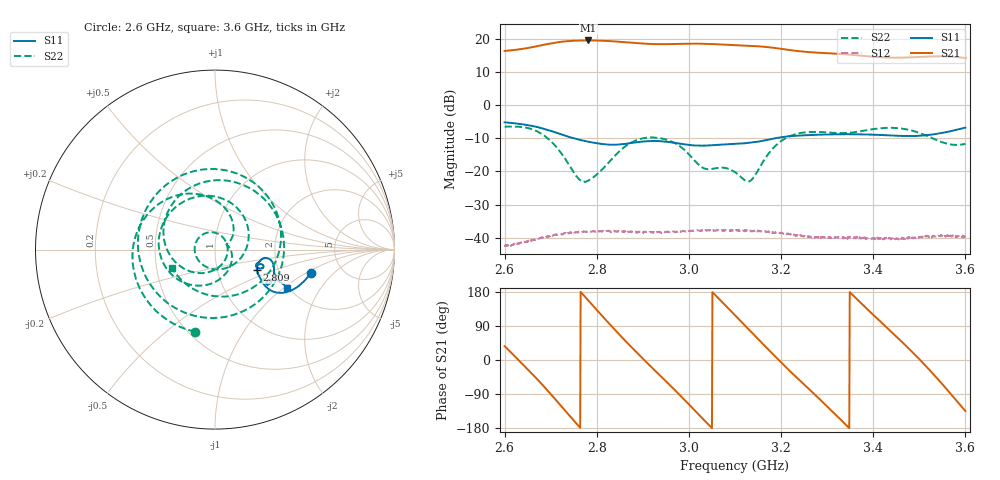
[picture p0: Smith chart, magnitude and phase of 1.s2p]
#  HZ  S  DB  R  50.00
! Rohde & Schwarz Vector Network Analyzer
! Rohde-Schwarz,ZNB8-2Port,1311601042101540,3.40
! Created: UTC 6/28/2024, 7:36:45 AM
! freq[Hz]  db:S11  ang:S11  db:S21  ang:S21  db:S12  ang:S12  db:S22  ang:S22
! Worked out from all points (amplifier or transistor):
!   1001 points, 2.6 GHz to 3.6 GHz, reference 50 ohm
!   highest |S21| = 19.4 dB at 2.782 GHz (marker M1)
!   |S21| within 3 dB of that: 2.612 GHz to 3.224 GHz (612.7 MHz wide, 21 % of centre)
!   unconditionally stable (mu >= 1): start of sweep to end of sweep
!   at 2.766 GHz: K = 4.00, MAG = 19.9 dB, |S12| = -38.3 dB
!   at 3.1 GHz: K = 4.58, MAG = 18.4 dB, |S12| = -37.8 dB
!   at 3.6 GHz: K = 6.83, MAG = 15.5 dB, |S12| = -39.5 dB
!   S11 on the Smith chart (normalised r, x): 2.6 GHz: 2.97, -1.11; 2.809 GHz: 1.55, -0.38; 3.6 GHz: 1.97, -1.06
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2.6e9  -5.22 -13.8  16.29 36.4  -42.32 32.3  -6.52 -103.5
2.653e9  -6.14 -26.3  17.23 -28.2  -41.05 -30.0  -7.03 166.9
2.701e9  -7.82 -35.5  18.57 -91.1  -39.37 -94.1  -10.97 92.2
2.73e9  -9.18 -35.9  19.15 -131.7  -38.64 -133.0  -15.91 49.6
2.767e9  -10.62 -31.8  19.42 177.0  -38.29 174.9  -22.91 25.3
2.782e9  -11.08 -29.8  19.44 156.5  -37.95 155.1  -22.78 19.7
2.809e9  -11.70 -26.1  19.37 120.0  -38.06 119.1  -19.78 -21.9
2.84e9  -11.97 -21.2  19.14 78.9  -38.08 79.9  -15.20 -85.6
2.877e9  -11.43 -17.5  18.71 31.7  -38.24 31.1  -11.16 -148.9
2.934e9  -10.87 -20.7  18.32 -37.0  -38.31 -37.5  -9.92 122.7
2.984e9  -11.72 -23.0  18.42 -97.2  -38.10 -96.5  -12.80 39.1
3.033e9  -12.24 -19.4  18.43 -158.7  -37.77 -157.0  -19.08 -84.8
3.065e9  -11.99 -16.9  18.27 161.7  -37.80 163.7  -18.92 -176.9
3.1e9  -11.70 -14.1  18.04 118.1  -37.82 119.2  -20.21 98.1
3.138e9  -11.29 -10.2  17.79 70.4  -38.07 73.2  -22.27 -38.2
3.183e9  -10.12 -10.1  17.24 14.5  -38.61 17.1  -12.98 -159.3
3.267e9  -9.05 -21.0  15.86 -84.1  -39.99 -80.2  -8.11 62.6
3.346e9  -8.81 -27.1  15.20 -177.3  -39.89 -170.1  -8.40 -86.3
3.434e9  -9.16 -33.8  14.27 80.5  -40.00 90.9  -6.87 116.5
3.513e9  -9.12 -28.6  14.56 -14.2  -39.51 -4.8  -9.09 -5.9
3.559e9  -8.14 -26.5  14.63 -76.2  -39.46 -65.6  -11.64 -85.7
3.6e9  -6.83 -28.0  14.13 -134.6  -39.47 -125.4  -11.72 -156.5
